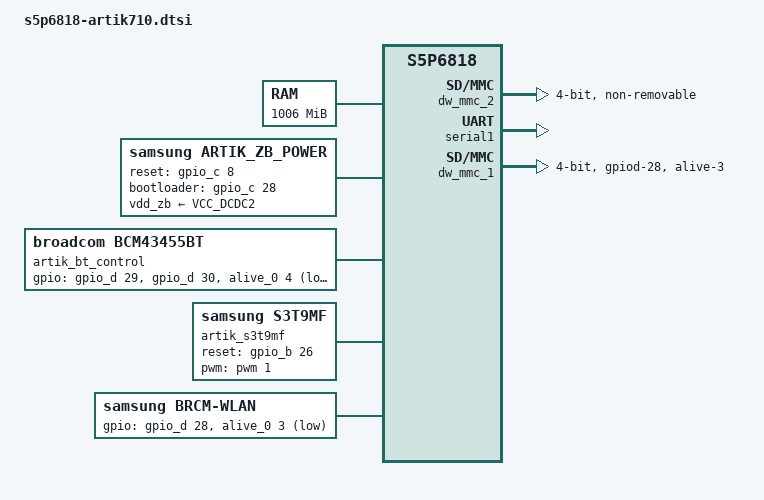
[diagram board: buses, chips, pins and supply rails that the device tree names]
/*
 * Copyright (C) 2016  Nexell Co., Ltd.
 * Author: Youngbok, Park <ybpark@nexell.co.kr>
 *
 * This program is free software; you can redistribute it and/or
 * modify it under the terms of the GNU General Public License
 * as published by the Free Software Foundation; either version 2
 * of the License, or (at your option) any later version.
 *
 * This program is distributed in the hope that it will be useful,
 * but WITHOUT ANY WARRANTY; without even the implied warranty of
 * MERCHANTABILITY or FITNESS FOR A PARTICULAR PURPOSE.  See the
 * GNU General Public License for more details.
 *
 * You should have received a copy of the GNU General Public License
 * along with this program.  If not, see <http://www.gnu.org/licenses/>.
 */
/memreserve/ 0x7ed00000 0x00100000; /* OP-TEE SHM */
#include <dt-bindings/interrupt-controller/irq.h>
#include "s5p6818.dtsi"

/ {
	memory {
		device_type = "memory";
		reg = <0x40000000 0x3ee00000>;
	};

	soc {
		#include "s5p6818-pinctrl.dtsi"

		clocks {
			uart0:uart@c00a9000 { clock-frequency = <147500000>; };
			uart1:uart@c00a8000 { clock-frequency = <147500000>; };
			uart2:uart@c00aa000 { clock-frequency = <147500000>; };
			uart3:uart@c00ab000 { clock-frequency = <147500000>; };
			uart4:uart@c006e000 { clock-frequency = <147500000>; };
			uart5:uart@c0084000 { clock-frequency = <147500000>; };
			pwm0:pwm0@c00ba000 { clock-frequency = <100000000>; };
			pwm2:pwm2@c00be000 { clock-frequency = <100000000>; };
			i2c0:i2c@c00ae000  { clock-frequency = <200000000>; };
			i2c1:i2c@c00af000  { clock-frequency = <200000000>; };
			i2c2:i2c@c00b0000  { clock-frequency = <200000000>; };
		};

		amba {
			pl08xdma0:pl08xdma@c0000000 {
				use_isr;

				ch12 {
					slave_wait_flush_dma;
				};

				ch13 {
					slave_wait_flush_dma;
				};

				ch14 {
					slave_wait_flush_dma;
				};

				ch15 {
					slave_wait_flush_dma;
				};
			};

			pl08xdma1:pl08xdma@c0001000 {
				use_isr;

				ch0 {
					slave_wait_flush_dma;
				};

				ch1 {
					slave_wait_flush_dma;
				};
			};
		};

		dw_mmc_2:dw_mmc@c0069000 {
			num-slots = <1>;
			bus-width = <4>;
			cap-mmc-highspeed;
			broken-cd;
			non-removable;
			clock-frequency = <100000000>;
			card-detect-delay = <200>;
			disable-wp;
			status = "okay";
			nexell,drive_dly = <0x0>;
			nexell,drive_shift = <0x02>;
			nexell,sample_dly = <0x00>;
			nexell,sample_shift = <0x01>;
			disable-data-tag;
		};

		dynamic-freq@bb000 {
			supply_name = "vdd_core_regulator";
			vdd_core_regulator-supply = <&VCC_DCDC0>;
		};

		tmuctrl_0: tmuctrl@c0096000 {
			status = "okay";
		};

		thermal-zones {
			cpu0_thermal: cpu0-thermal {
				thermal-sensors = <&tmuctrl_0>;
				polling-delay-passive = <1000>;
				polling-delay = <1000>;
				trips {
					cpu_alert0: cpu-alert-0 {
						temperature = <70000>;
						hysteresis = <100000>;
						type = "active";
					};
					cpu_alert1: cpu-alert-1 {
						temperature = <80000>;
						hysteresis = <100000>;
						type = "passive";
					};
					cpu-crit-0 {
						temperature = <115000>;
						hysteresis = <100000>;
						type = "critical";
					};
				};

				cooling-maps {
					map0 {
						trip = <&cpu_alert0>;
						cooling-device = <&cpu0 4 8>;
					};
					map1 {
						trip = <&cpu_alert1>;
						cooling-device = <&cpu0 10 10>;
					};
				};
			};
		};

		pinctrl@C0010000 {
			bt_cfg_hostwake:bt_cfg_hostwake {
				nexell,pins = "alive-4";
				nexell,pin-function = <0>;
				nexell,pin-pull = <2>;
				nexell,pin-strength = <1>;
			};
			bt_cfg_btwake:bt_cfg_btwake {
				nexell,pins = "gpiod-30";
				nexell,pin-function = <1>;
				nexell,pin-pull = <1>;
				nexell,pin-strength = <1>;
			};
			bt_cfg_en:bt_cfg_en {
				nexell,pins = "gpiod-29";
				nexell,pin-function = <0>;
				nexell,pin-pull = <1>;
				nexell,pin-strength = <1>;
			};

			cfg_wlanen: cfg-wlanen {
				nexell,pins ="gpiod-28";
				nexell,pin-function = <1>;
				nexell,pin-pull = <2>;
				nexell,pin-strength = <0>;
			};

			cfg_wlanhostwake: cfg-wlanhostwake {
				nexell,pins = "alive-3";
				nexell,pin-function = <0>;
				nexell,pin-pull = <0>;
				nexell,pin-strength = <0>;
			};
		};

		serial1:serial@c00a0000 {
			status = "okay";
			pinctrl-0 = <&serial1_pin>, <&serial1_flow>;
		};
	};	/*** soc ***/

	artik_zb_power {
		compatible = "samsung,artik_zb_power";
		vdd_zb-supply = <&VCC_DCDC2>;
		reset-gpio = <&gpio_c 8 0>;
		bootloader-gpio = <&gpio_c 28 0>;
		status = "okay";
	};

	artik_bt_control {
		compatible = "broadcom,bcm43455bt";
		gpios = <&gpio_d 29 0	/* GPIOD29=BT_EN, output */
			&gpio_d 30 0		/* GPIOD30=BT_WAKE, output */
			&alive_0 4 1		/* AliveGPIO4=BT_HOST_WAKE, input */
			>;
		pinctrl-names = "default";
		pinctrl-0 = <&bt_cfg_hostwake &bt_cfg_btwake &bt_cfg_en>;
		status = "okay";
	};

	artik_s3t9mf {
		compatible = "samsung,s3t9mf";
		reset-gpio = <&gpio_b 26 0>;
		pwms = <&pwm 1 121 0>;
		pwm-names = "pwm_t9mf";
		status = "okay";
	};

	wlan {
		compatible = "samsung,brcm-wlan";
		gpios = <&gpio_d 28 0  /* WLAN_EN */
			 &alive_0 3 1>; /* WLAN_HOST_WAKE */
		status = "okay";
	};
};

&dw_mmc_1 {
	num-slots = <1>;
	bus-width = <4>;
	cap-sd-highspeed;
	cd-type-external;
	broken-cd;
	cd-type = <2>;
	clock-frequency = <100000000>;
	nexell,drive_dly = <0x0>;
	nexell,drive_shift = <0x02>;
	nexell,sample_dly = <0x00>;
	nexell,sample_shift = <0x01>;
	pinctrl-names = "default";
	pinctrl-0 = <&sdmmc1_cclk &sdmmc1_cmd &sdmmc1_bus4
		     &cfg_wlanen &cfg_wlanhostwake>;
	status = "okay";
};
